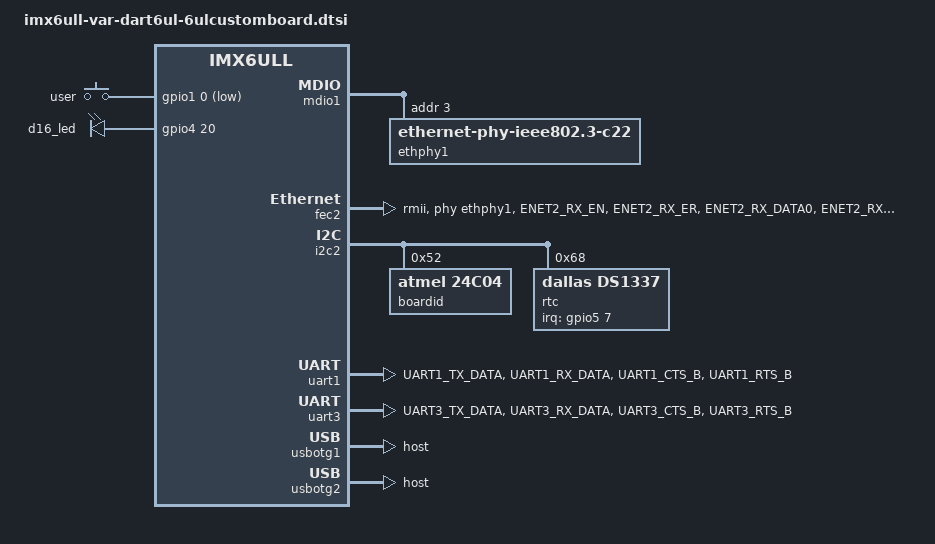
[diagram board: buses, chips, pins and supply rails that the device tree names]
// SPDX-License-Identifier: (GPL-2.0+ OR MIT)
/*
 * Copyright 2021 Amotus Solution Inc.
 * Author: Marc Ferland <ferlandm@amotus.ca>
 */

/ {
	keys {
		compatible = "gpio-keys";
		user {
			gpios = <&gpio1 0 GPIO_ACTIVE_LOW>;
			pinctrl-names = "default";
			pinctrl-0 = <&pinctrl_btn>;
			linux,code = <KEY_BACK>;
			gpio-key,wakeup;
		};
	};

	leds {
		compatible = "gpio-leds";
		d16_led {
			gpios = <&gpio4 20 GPIO_ACTIVE_HIGH>;
			pinctrl-names = "default";
			pinctrl-0 = <&pinctrl_led>;
			linux,default-trigger = "heartbeat";
		};
	};
};

&wdog1 {
	pinctrl-names = "default";
	pinctrl-0 = <&pinctrl_wdog>;
	fsl,ext-reset-output;
};

&mdio1 {
	ethphy1: ethernet-phy@3 {
		compatible = "ethernet-phy-ieee802.3-c22";
		clocks = <&clks IMX6UL_CLK_ENET2_REF>;
		clock-names = "rmii-ref";
		micrel,led-mode = <1>;
		max-speed = <100>;
		reg = <3>;
	};
};

&fec2 {
	pinctrl-names = "default";
	pinctrl-0 = <&pinctrl_enet2 &pinctrl_enet2_rst>;
	phy-mode = "rmii";
	phy-handle = <&ethphy1>;
	phy-reset-gpios = <&gpio1 10 GPIO_ACTIVE_LOW>;
	phy-reset-duration = <100>;
	status = "okay";
};

&i2c2 {
	/* BR24G04NUX-3TTR board id */
	boardid: eeprom@52 {
		compatible = "atmel,24c04";
		pagesize = <16>;
		reg = <0x52>;
		read-only;
	};

	rtc: rtc@68 {
		compatible = "dallas,ds1337";
		reg = <0x68>;
		pinctrl-names = "default";
		pinctrl-0 = <&pinctrl_rtc>;
		interrupt-parent = <&gpio5>;
		interrupts = <7 IRQ_TYPE_EDGE_FALLING>;
	};
};

&uart1 {
	pinctrl-names = "default";
	pinctrl-0 = <&pinctrl_uart1>;
	uart-has-rtscts;
	status = "okay";
};

&uart3 {
        pinctrl-names = "default";
	pinctrl-0 = <&pinctrl_uart3>;
	uart-has-rtscts;
	status = "okay";
};

&usbotg1 {
	dr_mode = "host";
	disable-over-current;
	status = "okay";
};

&usbotg2 {
	dr_mode = "host";
	disable-over-current;
	status = "okay";
};

&iomuxc {
	pinctrl_led: ledgrp {
		fsl,pins = <
		MX6UL_PAD_CSI_HSYNC__GPIO4_IO20		0x1b0b0
		>;
	};

	pinctrl_btn: btngrp {
		fsl,pins = <
		MX6UL_PAD_GPIO1_IO00__GPIO1_IO00	0x17059
		>;
	};

	pinctrl_enet2: enet2-grp {
		fsl,pins = <
		MX6UL_PAD_ENET2_RX_EN__ENET2_RX_EN	0x1b0b0
		MX6UL_PAD_ENET2_RX_ER__ENET2_RX_ER	0x1b0b0
		MX6UL_PAD_ENET2_RX_DATA0__ENET2_RDATA00	0x1b0b0
		MX6UL_PAD_ENET2_RX_DATA1__ENET2_RDATA01	0x1b0b0
		MX6UL_PAD_ENET2_TX_EN__ENET2_TX_EN	0x1b0b0
		MX6UL_PAD_ENET2_TX_DATA0__ENET2_TDATA00	0x1b0b0
		MX6UL_PAD_ENET2_TX_DATA1__ENET2_TDATA01	0x1b0b0
		MX6UL_PAD_ENET2_TX_CLK__ENET2_REF_CLK2	0x4001b031
		>;
	};

	pinctrl_enet2_mdio: enet2-mdio-grp {
		fsl,pins = <
		MX6UL_PAD_GPIO1_IO07__ENET2_MDC		0x1b0b0
		MX6UL_PAD_GPIO1_IO06__ENET2_MDIO	0x1b0b0
		>;
	};

	pinctrl_enet2_rst: enet2-rst-grp {
		fsl,pins = <
		MX6UL_PAD_JTAG_MOD__GPIO1_IO10		0x1b0b0
		>;
	};

	pinctrl_uart1: uart1grp {
		fsl,pins = <
		MX6UL_PAD_UART1_TX_DATA__UART1_DCE_TX	0x1b0b1
		MX6UL_PAD_UART1_RX_DATA__UART1_DCE_RX	0x1b0b1
		MX6UL_PAD_UART1_CTS_B__UART1_DCE_CTS	0x1b0b1
		MX6UL_PAD_UART1_RTS_B__UART1_DCE_RTS	0x1b0b1
		>;
	};

        /* TODO: validate */
	pinctrl_uart3: uart3grp {
		fsl,pins = <
		MX6UL_PAD_UART3_TX_DATA__UART3_DCE_TX	0x1b0b1
		MX6UL_PAD_UART3_RX_DATA__UART3_DCE_RX	0x1b0b1
		MX6UL_PAD_UART3_CTS_B__UART3_DCE_CTS	0x1b0b1
		MX6UL_PAD_UART3_RTS_B__UART3_DCE_RTS	0x1b0b1
		>;
	};

	pinctrl_wdog: wdoggrp {
		fsl,pins = <
		MX6UL_PAD_GPIO1_IO08__WDOG1_WDOG_B	0x78b0
		>;
	};
};

&iomuxc_snvs {
	pinctrl_rtc: rtcgrp {
		fsl,pins = <
		MX6ULL_PAD_SNVS_TAMPER7__GPIO5_IO07	0x1b0b0
		>;
	};
};
